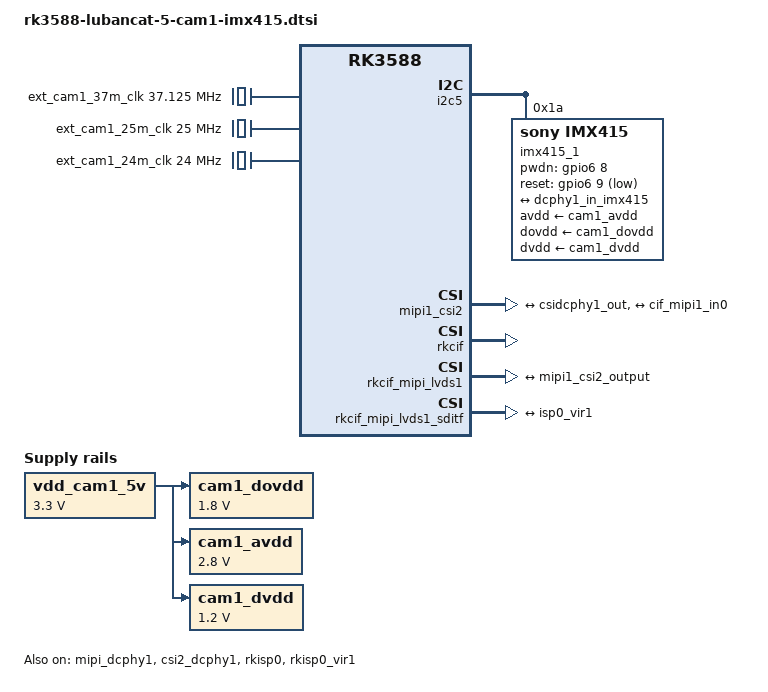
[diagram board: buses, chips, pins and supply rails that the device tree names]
// SPDX-License-Identifier: (GPL-2.0+ OR MIT)
/*
 * Copyright (c) 2020 Rockchip Electronics Co., Ltd.
 *
 */

/ {
	ext_cam1_37m_clk: external-camera-37m-clock {
		compatible = "fixed-clock";
		clock-frequency = <37125000>;
		clock-output-names = "ext_cam_37m_clk";
		#clock-cells = <0>;
	};

	ext_cam1_25m_clk: external-camera-25m-clock {
		compatible = "fixed-clock";
		clock-frequency = <25000000>;
		clock-output-names = "ext_cam_25m_clk";
		#clock-cells = <0>;
	};

	ext_cam1_24m_clk: external-camera-24m-clock {
		compatible = "fixed-clock";
		#clock-cells = <0>;
		clock-frequency = <24000000>;
		clock-output-names = "ext_cam_24m_clk";
	};

	vdd_cam1_5v: vdd-cam1-5v-regulator {
		compatible = "regulator-fixed";
		regulator-name = "vdd_cam_5v";
		regulator-always-on;
		regulator-boot-on;
		regulator-min-microvolt = <3300000>;
		regulator-max-microvolt = <3300000>;
	};

	cam1_dovdd: cam1-dovdd {
		compatible = "regulator-fixed";
		regulator-name = "cam_dovdd";
		regulator-always-on;
		regulator-boot-on;
		regulator-min-microvolt = <1800000>;
		regulator-max-microvolt = <1800000>;
		vin-supply = <&vdd_cam1_5v>;
	};

	cam1_avdd: cam1-avdd {
		compatible = "regulator-fixed";
		regulator-name = "cam_avdd";
		regulator-always-on;
		regulator-boot-on;
		regulator-min-microvolt = <2800000>;
		regulator-max-microvolt = <2800000>;
		vin-supply = <&vdd_cam1_5v>;
	};

	cam1_dvdd: cam1-dvdd {
		compatible = "regulator-fixed";
		regulator-name = "cam_dvdd";
		regulator-always-on;
		regulator-boot-on;
		regulator-min-microvolt = <1200000>;
		regulator-max-microvolt = <1200000>;
		vin-supply = <&vdd_cam1_5v>;
	};
};

/* Link path: sensor->csi2_dphy1->mipi1_csi2->rkcif_mipi_lvds1--->rkcif_mipi_lvds1_sditf->rkisp0_vir1 */
&i2c5 {
	status = "okay";
	pinctrl-names = "default";
	pinctrl-0 = <&i2c5m3_xfer>;

	imx415_1: imx415-1@1a {
		compatible = "sony,imx415";
		status = "okay";
		reg = <0x1a>;
		clocks = <&ext_cam1_37m_clk>;
		clock-names = "xvclk";
		avdd-supply = <&cam1_avdd>;
		dovdd-supply = <&cam1_dovdd>;
		dvdd-supply = <&cam1_dvdd>;
		pwdn-gpios = <&gpio6 8 GPIO_ACTIVE_HIGH>;
		reset-gpios = <&gpio6 9 GPIO_ACTIVE_LOW>;

		rockchip,camera-module-index = <1>;
		rockchip,camera-module-facing = "back";
		rockchip,camera-module-name = "CMK-OT2022-PX1";
		rockchip,camera-module-lens-name = "IR0147-50IRC-8M-F20";
		port {
			imx415_out1: endpoint {
				remote-endpoint = <&dcphy1_in_imx415>;
				data-lanes = <1 2 3 4>;
			};
		};
	};
};

&mipi_dcphy1 {
	status = "okay";
};

&csi2_dcphy1 {
	status = "okay";
	
	ports {
		#address-cells = <1>;
		#size-cells = <0>;

		port@0 {
			reg = <0>;
			#address-cells = <1>;
			#size-cells = <0>;

			dcphy1_in_imx415: endpoint@5 {
				reg = <5>;
				remote-endpoint = <&imx415_out1>;
				data-lanes = <1 2 3 4>;
			};
		};

		port@1 {
			reg = <1>;
			#address-cells = <1>;
			#size-cells = <0>;

			csidcphy1_out: endpoint@0 {
				reg = <0>;
				remote-endpoint = <&mipi1_csi2_input>;
			};
		};
	};
};

&mipi1_csi2 {
	status = "okay";

	ports {
		#address-cells = <1>;
		#size-cells = <0>;

		port@0 {
			reg = <0>;
			#address-cells = <1>;
			#size-cells = <0>;

			mipi1_csi2_input: endpoint@1 {
				reg = <1>;
				remote-endpoint = <&csidcphy1_out>;
			};
		};

		port@1 {
			reg = <1>;
			#address-cells = <1>;
			#size-cells = <0>;

			mipi1_csi2_output: endpoint@0 {
				reg = <0>;
				remote-endpoint = <&cif_mipi1_in0>;
			};
		};
	};
};

&rkcif {
	status = "okay";
};

&rkcif_mipi_lvds1 {
	status = "okay";

	port {
		cif_mipi1_in0: endpoint {
			remote-endpoint = <&mipi1_csi2_output>;
		};
	};
};

&rkcif_mipi_lvds1_sditf {
	status = "okay";

	port {
		mipi_lvds1_sditf: endpoint {
			remote-endpoint = <&isp0_vir1>;
		};
	};
};

&rkcif_mmu {
	status = "okay";
};

&rkisp0 {
	status = "okay";
};

&isp0_mmu {
	status = "okay";
};

&rkisp0_vir1 {
	status = "okay";

	port {
		#address-cells = <1>;
		#size-cells = <0>;

		isp0_vir1: endpoint@0 {
			reg = <0>;
			remote-endpoint = <&mipi_lvds1_sditf>;
		};
	};
};
